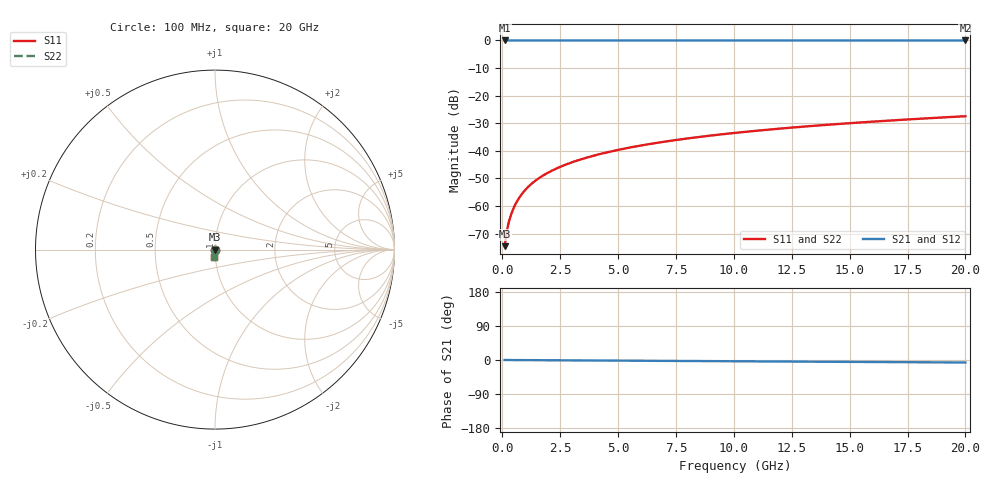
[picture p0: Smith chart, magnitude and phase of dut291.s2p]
! Touchstone file exported from HFSS 2026.1.0
!  File:  C:/ffzhzh/LocalFiles/Ansys_Project_Files/temp_train_TSV_291_1782993772_42984.aedt
!  Generated:  08:04:20 PM Jul  2, 2026
!  Design:  TSV
!  Project:  temp_train_TSV_291_1782993772_42984
! Variables:
!  h_bsmrdl = 2um
!  h_ox = 20um
!  h_rdl = 5um
!  h_sub = 61.28um
!  h_tmrdl = 5um
!  h_tsv = 61.28um
!  h_via = 3um
!  l_bsmrdl = 300um
!  l_sub = 429.94um
!  l_tmrdl = 200um
!  m_sub = 200um
!  pitch = 43.21um
!  r_tsv = 14.97um
!  s_tmrdl = 10um
!  w_bsmrdl = 18um
!  w_sub = 500um
!  w_tmrdl = 12um
!  x_tsv_center1 = 206um
!  x_tsv_center2 = 524um
!  x_tsv_center3 = 736um
!  x_tsv_center4 = 1054um
!  x_tsv_center5 = 1266um
!  x_tsv_center6 = 1584um
# GHz S MA R 50.000000
! Terminal data exported
! Port[1] = TSV1_1_T1
! Port[2] = TSV1_1_T2
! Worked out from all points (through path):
!   200 points, 100 MHz to 20 GHz, reference 50 ohm
!   highest |S21| = 0.00 dB at 100 MHz (marker M1); lowest = 0.0 dB at 20 GHz (marker M2)
!   lowest |S11| = -74.5 dB at 100 MHz (marker M3), VSWR 1.00, Z = 50 - j0.0177 ohm
!   |S11| at or under -10 dB: start of sweep to end of sweep
!   |S22| runs from -74.5 to -27.5 dB; largest |S21 - S12| = 2.1e-15
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0.1  0.0001878 -70.2  0.9999 -0.0  0.9999 -0.0  0.0001878 -70.2
! Gamma 0 0 0 0
! Port Impedance 50 0 50 0
0.2  0.0003647 -78.0  0.9999 -0.1  0.9999 -0.1  0.0003647 -78.0
0.3  0.0005505 -80.3  0.9999 -0.1  0.9999 -0.1  0.0005505 -80.3
0.4  0.0007433 -81.3  0.9999 -0.1  0.9999 -0.1  0.0007433 -81.3
0.5  0.0009419 -82.0  0.9999 -0.2  0.9999 -0.2  0.0009419 -82.0
0.7  0.001351 -83.0  0.9998 -0.2  0.9998 -0.2  0.001351 -83.0
0.8  0.001559 -83.4  0.9998 -0.3  0.9998 -0.3  0.001559 -83.4
1  0.001978 -84.2  0.9998 -0.3  0.9998 -0.3  0.001978 -84.2
1.2  0.002399 -84.9  0.9998 -0.4  0.9998 -0.4  0.002399 -84.9
1.4  0.00282 -85.5  0.9997 -0.5  0.9997 -0.5  0.00282 -85.5
1.7  0.003451 -86.1  0.9997 -0.6  0.9997 -0.6  0.003451 -86.1
2  0.004082 -86.7  0.9997 -0.7  0.9997 -0.7  0.004082 -86.7
2.7  0.005553 -87.6  0.9997 -0.9  0.9997 -0.9  0.005553 -87.6
3.5  0.007237 -88.3  0.9996 -1.2  0.9996 -1.2  0.007237 -88.3
4.2  0.008715 -88.8  0.9996 -1.4  0.9996 -1.4  0.008715 -88.8
5  0.01041 -89.3  0.9995 -1.7  0.9995 -1.7  0.01041 -89.3
6.8  0.01423 -90.2  0.9994 -2.3  0.9994 -2.3  0.01423 -90.2
8.3  0.01743 -90.9  0.9993 -2.8  0.9993 -2.8  0.01743 -90.9
10.1  0.02127 -91.7  0.9992 -3.3  0.9992 -3.3  0.02127 -91.7
13.4  0.02831 -93.0  0.9989 -4.4  0.9989 -4.4  0.02831 -93.0
16.7  0.03536 -94.2  0.9986 -5.5  0.9986 -5.5  0.03536 -94.2
20  0.04241 -95.4  0.9982 -6.6  0.9982 -6.6  0.04241 -95.4
